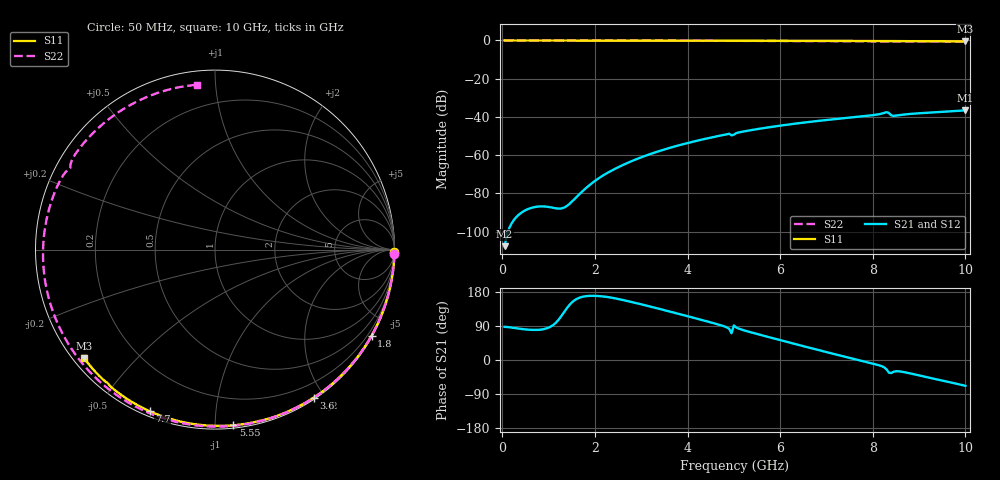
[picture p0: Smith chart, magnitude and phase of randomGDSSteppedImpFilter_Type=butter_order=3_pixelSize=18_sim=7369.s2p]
! freq	dB(S11)	phase(S11)	dB(S12)	phase(S12)
!  dB(S21)	phase(S21)	dB(S22)	phase(S22)
!S-par simulation data
#  GHz  S  DB  R 50
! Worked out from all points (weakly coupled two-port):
!   200 points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, 50 MHz to 10 GHz, reference 50 ohm
!   highest |S21| = -36.58 dB at 10 GHz (marker M1); lowest = -107.6 dB at 50 MHz (marker M2)
!   lowest |S11| = -0.5 dB at 10 GHz (marker M3), VSWR 36.89, Z = 1.53 - j18 ohm
!   |S11| at or under -10 dB: nowhere
!   |S22| runs from -0.7 to 0.0 dB; largest |S21 - S12| = 0
!   S11 on the Smith chart (normalised r, x): 50 MHz: open; 1.8 GHz: 0.03, -3.88; 3.6 GHz: 0.02, -1.87; 5.55 GHz: 0.02, -1.11; 7.7 GHz: 0.02, -0.67; 10 GHz: 0.03, -0.36
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0.05  -0.00 -0.8  -107.63 87.4  -107.63 87.4  -0.00 -1.4
0.8  -0.02 -13.0  -86.86 79.8  -86.86 79.8  -0.03 -21.4
1.65  -0.03 -26.5  -80.78 163.6  -80.78 163.6  -0.06 -43.7
1.75  -0.04 -28.1  -78.48 167.3  -78.48 167.3  -0.06 -46.3
1.8  -0.04 -28.9  -77.39 168.4  -77.39 168.4  -0.06 -47.6
2.1  -0.04 -33.6  -71.82 168.6  -71.82 168.6  -0.07 -55.2
2.45  -0.05 -39.0  -66.97 162.3  -66.97 162.3  -0.08 -64.1
2.9  -0.06 -45.9  -62.08 149.9  -62.08 149.9  -0.10 -75.2
3.4  -0.07 -53.4  -57.78 134.6  -57.78 134.6  -0.11 -87.4
3.6  -0.08 -56.4  -56.31 128.4  -56.31 128.4  -0.12 -92.2
4.3  -0.09 -66.6  -51.92 105.9  -51.92 105.9  -0.15 -108.8
4.9  -0.12 -75.1  -48.83 82.2  -48.83 82.2  -0.19 -122.8
4.95  -0.12 -75.8  -49.64 70.5  -49.64 70.5  -0.19 -124.0
5.05  -0.12 -77.1  -48.52 86.0  -48.52 86.0  -0.20 -126.3
5.55  -0.14 -84.0  -46.21 67.0  -46.21 67.0  -0.23 -138.0
6.7  -0.19 -99.3  -42.42 30.2  -42.42 30.2  -0.32 -165.7
7.7  -0.26 -112.1  -39.90 -0.6  -39.90 -0.6  -0.42 168.4
8.3  -0.30 -119.6  -37.53 -25.2  -37.53 -25.2  -0.62 151.3
8.35  -0.30 -120.2  -37.97 -33.6  -37.97 -33.6  -0.67 150.5
8.45  -0.31 -121.4  -39.47 -31.0  -39.47 -31.0  -0.53 147.9
9.25  -0.40 -131.2  -37.75 -47.7  -37.75 -47.7  -0.59 122.3
10  -0.47 -140.4  -36.58 -68.1  -36.58 -68.1  -0.69 96.4
